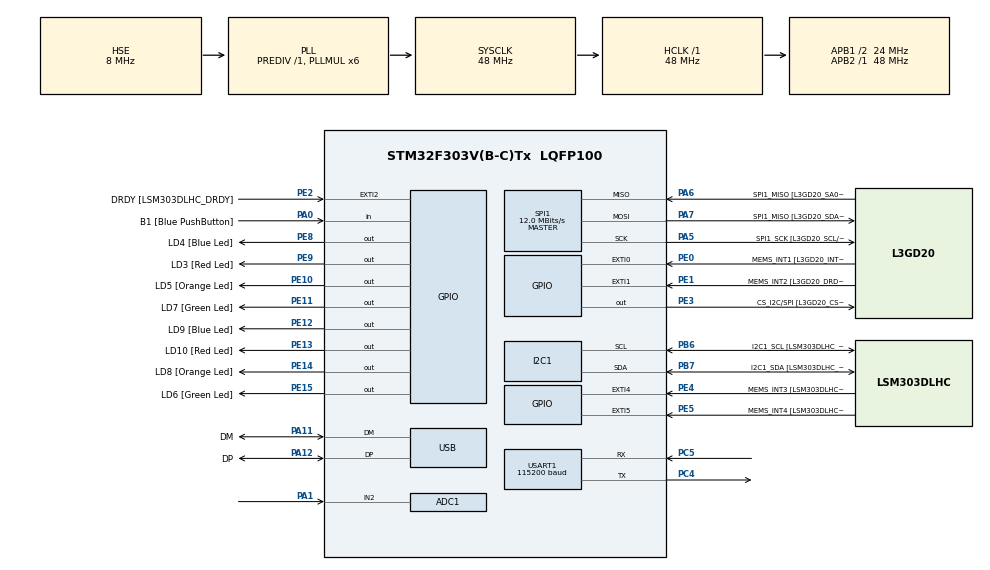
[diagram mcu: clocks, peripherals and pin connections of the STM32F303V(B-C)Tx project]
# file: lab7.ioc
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ADC1.Channel-1\#ChannelRegularConversion=ADC_CHANNEL_2
ADC1.ContinuousConvMode=ENABLE
ADC1.NbrOfConversionFlag=1
ADC1.Offset-1\#ChannelRegularConversion=0
ADC1.OffsetNumber-1\#ChannelRegularConversion=ADC_OFFSET_NONE
ADC1.Rank-1\#ChannelRegularConversion=1
ADC1.SamplingTime-1\#ChannelRegularConversion=ADC_SAMPLETIME_601CYCLES_5
ADC1.SamplingTimeOPAMP-1\#ChannelRegularConversion=ADC_SAMPLETIME_601CYCLES_5
ADC1.master=1
I2C1.Timing=0x00201D2B
I2C1.Timing-I2C=0x2000090E
Mcu.Family=STM32F3
Mcu.Name=STM32F303V(B-C)Tx
Mcu.Package=LQFP100
NVIC.ADC1_2_IRQn=true\:0\:0\:false\:false\:true\:true\:true\:true
NVIC.PriorityGroup=NVIC_PRIORITYGROUP_0
PA0.GPIO_Label=B1 [Blue PushButton]
PA0.Signal=GPIO_Input
PA1.Mode=IN2-Single-Ended
PA1.Signal=ADC1_IN2
PA11.GPIO_Label=DM
PA11.Mode=Device
PA11.Signal=USB_DM
PA12.GPIO_Label=DP
PA12.Mode=Device
PA12.Signal=USB_DP
PA13.GPIO_Label=SWDIO
PA13.Mode=Serial_Wire
PA13.Signal=SYS_JTMS-SWDIO
PA14.GPIO_Label=SWCLK
PA14.Mode=Serial_Wire
PA14.Signal=SYS_JTCK-SWCLK
PA5.GPIO_Label=SPI1_SCK [L3GD20_SCL/SPC]
PA5.Mode=Full_Duplex_Master
PA5.Signal=SPI1_SCK
PA6.GPIO_Label=SPI1_MISO [L3GD20_SA0/SDO]
PA6.Mode=Full_Duplex_Master
PA6.Signal=SPI1_MISO
PA7.GPIO_Label=SPI1_MISO [L3GD20_SDA/SDI/SDO]
PA7.Mode=Full_Duplex_Master
PA7.Signal=SPI1_MOSI
PB3.GPIO_Label=SWO
PB3.Signal=SYS_JTDO-TRACESWO
PB6.GPIO_Label=I2C1_SCL [LSM303DLHC_SCL]
PB6.GPIO_Pu=GPIO_PULLUP
PB6.Mode=I2C
PB6.Signal=I2C1_SCL
PB7.GPIO_Label=I2C1_SDA [LSM303DLHC_SDA]
PB7.GPIO_Pu=GPIO_PULLUP
PB7.Mode=I2C
PB7.Signal=I2C1_SDA
PC14-OSC32_IN.GPIO_Label=OSC32_IN
PC14-OSC32_IN.Signal=RCC_OSC32_IN
PC15-OSC32_OUT.GPIO_Label=OSC32_OUT
PC15-OSC32_OUT.Signal=RCC_OSC32_OUT
PC4.Mode=Asynchronous
PC4.Signal=USART1_TX
PC5.Mode=Asynchronous
PC5.Signal=USART1_RX
PE0.GPIO_Label=MEMS_INT1 [L3GD20_INT1]
PE0.GPIO_ModeDefaultEXTI=GPIO_MODE_EVT_RISING
PE0.Signal=GPXTI0
PE1.GPIO_Label=MEMS_INT2 [L3GD20_DRDY/INT2]
PE1.GPIO_ModeDefaultEXTI=GPIO_MODE_EVT_RISING
PE1.Signal=GPXTI1
PE10.GPIO_Label=LD5 [Orange Led]
PE10.Signal=GPIO_Output
PE11.GPIO_Label=LD7 [Green Led]
PE11.Signal=GPIO_Output
PE12.GPIO_Label=LD9 [Blue Led]
PE12.Signal=GPIO_Output
PE13.GPIO_Label=LD10 [Red Led]
PE13.Signal=GPIO_Output
PE14.GPIO_Label=LD8 [Orange Led]
PE14.Signal=GPIO_Output
PE15.GPIO_Label=LD6 [Green Led]
PE15.Signal=GPIO_Output
PE2.GPIO_Label=DRDY [LSM303DLHC_DRDY]
PE2.GPIO_ModeDefaultEXTI=GPIO_MODE_EVT_RISING
PE2.Signal=GPXTI2
PE3.GPIO_Label=CS_I2C/SPI [L3GD20_CS_I2C/SPI]
PE3.Signal=GPIO_Output
PE4.GPIO_Label=MEMS_INT3 [LSM303DLHC_INT1]
PE4.GPIO_ModeDefaultEXTI=GPIO_MODE_EVT_RISING
PE4.Signal=GPXTI4
PE5.GPIO_Label=MEMS_INT4 [LSM303DLHC_INT2]
PE5.GPIO_ModeDefaultEXTI=GPIO_MODE_EVT_RISING
PE5.Signal=GPXTI5
PE8.GPIO_Label=LD4 [Blue Led]
PE8.Signal=GPIO_Output
PE9.GPIO_Label=LD3 [Red Led]
PE9.Signal=GPIO_Output
PF0-OSC_IN.GPIO_Label=OSC_IN
PF0-OSC_IN.Mode=HSE-External-Clock-Source
PF0-OSC_IN.Signal=RCC_OSC_IN
PF1-OSC_OUT.GPIO_Label=OSC_OUT
PF1-OSC_OUT.Signal=RCC_OSC_OUT
ProjectManager.HeapSize=0x200
ProjectManager.StackSize=0x400
ProjectManager.TargetToolchain=CMake
RCC.AHBFreq_Value=48000000
RCC.APB1CLKDivider=RCC_HCLK_DIV2
RCC.APB1Freq_Value=24000000
RCC.APB1TimFreq_Value=48000000
RCC.APB2Freq_Value=48000000
RCC.APB2TimFreq_Value=48000000
RCC.CortexFreq_Value=48000000
RCC.HCLKFreq_Value=48000000
RCC.HSE_VALUE=8000000
RCC.HSI_VALUE=8000000
RCC.LSE_VALUE=32768
RCC.PLLMUL=RCC_PLL_MUL6
RCC.SYSCLKFreq_VALUE=48000000
RCC.SYSCLKSourceVirtual=RCC_SYSCLKSOURCE_PLLCLK
RCC.USBFreq_Value=48000000
SPI1.BaudRatePrescaler=SPI_BAUDRATEPRESCALER_4
SPI1.BaudRatePrescaler-Full_Duplex_Master=SPI_BAUDRATEPRESCALER_2
SPI1.CalculateBaudRate=12.0 MBits/s
SPI1.CalculateBaudRate-Full_Duplex_Master=24.0 MBits/s
SPI1.Direction=SPI_DIRECTION_2LINES
SPI1.Mode=SPI_MODE_MASTER
SPI1.Mode-Full_Duplex_Master=SPI_MODE_MASTER
SPI1.VirtualType=VM_MASTER
STMicroelectronics.X-CUBE-ALGOBUILD.1.5.0.LibraryCcDSPOoLibraryJjDSPOoLibrary=true
USART1.BaudRate=115200
USART1.VirtualMode-Asynchronous=VM_ASYNC
VP_STMicroelectronics.X-CUBE-ALGOBUILD_VS_DSPOoLibraryJjLibrary_1.5.0_1.5.0.Mode=DSPOoLibraryJjLibrary
board=STM32F3DISCOVERY

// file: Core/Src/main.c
/* USER CODE BEGIN Header */
/**
  ******************************************************************************
  * @file           : main.c
  * @brief          : Main program body
  ******************************************************************************
  * @attention
  *
  * Copyright (c) 2026 STMicroelectronics.
  * All rights reserved.
  *
  * This software is licensed under terms that can be found in the LICENSE file
  * in the root directory of this software component.
  * If no LICENSE file comes with this software, it is provided AS-IS.
  *
  ******************************************************************************
  */
/* USER CODE END Header */
#include "main.h"

/* USER CODE BEGIN Includes */
#include "stdio.h"
#include "stm32f3xx_hal.h"
#include "stm32f3xx_hal_adc.h"
#include "stm32f3xx_hal_def.h"
#include "stm32f3xx_hal_uart.h"
#include "string.h"
#include <stdint.h>
#include "arm_math.h"
/* USER CODE END Includes */

/* USER CODE BEGIN PTD */
#define FILTER_LEN 10
/* USER CODE END PTD */

ADC_HandleTypeDef hadc1;

I2C_HandleTypeDef hi2c1;

SPI_HandleTypeDef hspi1;

UART_HandleTypeDef huart1;

PCD_HandleTypeDef hpcd_USB_FS;

void SystemClock_Config(void);
static void MX_GPIO_Init(void);
static void MX_ADC1_Init(void);
static void MX_I2C1_Init(void);
static void MX_SPI1_Init(void);
static void MX_USART1_UART_Init(void);
static void MX_USB_PCD_Init(void);
/* USER CODE BEGIN PFP */
int _write(int file , char *ptr , int len) {
  HAL_UART_Transmit(&huart1, (uint8_t*) ptr, len, HAL_MAX_DELAY);
  return len;
}
/* USER CODE END PFP */

/* USER CODE BEGIN 0 */

// Task 1:
// volatile int value = 0;
// char msg[64];

// void HAL_ADC_ConvCpltCallback(ADC_HandleTypeDef* hadc) {
//   if (hadc->Instance == ADC1) {
//     value = HAL_ADC_GetValue(hadc);
//     int len = sprintf(msg , "%d\r\n" , value);
//     HAL_UART_Transmit(&huart1 , (uint8_t*) msg , len , HAL_MAX_DELAY);
//   }
// }

// Task 2
// float32_t inputBuffer[FILTER_LEN];
// float32_t output;
// uint32_t idx = 0;

// void apply_moving_average(float32_t new_sample) {
//   inputBuffer[idx] = new_sample;
//   idx = (idx+ 1) % FILTER_LEN;
//   arm_mean_f32(inputBuffer, FILTER_LEN, &output);
// }

// Task 2b:
// void HAL_ADC_ConvCpltCallback(ADC_HandleTypeDef *hadc) {
//   if (hadc->Instance == ADC1) {
//       uint32_t value = HAL_ADC_GetValue(&hadc1);
//       apply_moving_average(((float32_t)value / 4095.0f) *3.3f);
//       uint32_t filtered_int = (uint32_t)((output / 3.3f) * 4095.0f);
//       printf("%lu,%lu\r\n", value, filtered_int);
//   }
// }

// Task 3:
volatile int value = 0;
char msg[256];

void HAL_ADC_ConvCpltCallback(ADC_HandleTypeDef* hadc) {
  if (hadc->Instance == ADC1) {
    value = HAL_ADC_GetValue(hadc);
    float voltage = ((float)value * 3.3f) / 4095.0f;
    float distance = 0.0f;
    if (voltage > 0.2f) {
      float slope = 21.25f;
      float intercept = 0.175f;
      float inverse_distance = (voltage - intercept) / slope;
      if (inverse_distance > 0.0f) {
        distance = 1.0f / inverse_distance;
      } else {
        distance = 80.0f;
      }
    } else {
      distance = 80.0f;
    }
    if (distance < 10.0f) distance = 10.0f;
    if (distance > 80.0f) distance = 80.0f;
    int len = sprintf(msg , "ADC: %d , Distance: %d\r\n" , value , (int) distance);
    HAL_UART_Transmit(&huart1 , (uint8_t*) msg , len , HAL_MAX_DELAY);
  }
}

/* USER CODE END 0 */

int main(void)
{

  /* MCU Configuration--------------------------------------------------------*/

  /* Reset of all peripherals, Initializes the Flash interface and the Systick. */
  HAL_Init();

  /* Configure the system clock */
  SystemClock_Config();

  /* Initialize all configured peripherals */
  MX_GPIO_Init();
  MX_ADC1_Init();
  MX_I2C1_Init();
  MX_SPI1_Init();
  MX_USART1_UART_Init();
  MX_USB_PCD_Init();
  /* USER CODE BEGIN 2 */

  // Task 1:
  // HAL_ADC_Start_IT(&hadc1);

  // Task 2b:
  // HAL_ADC_Start_IT(&hadc1);
  // /* USER CODE END 2 */

  // Task 3:
  HAL_ADC_Start_IT(&hadc1);

  /* Infinite loop */
  /* USER CODE BEGIN WHILE */
  while (1)
  {
    // TASK 2a:
    // HAL_ADC_Start(&hadc1);
    // if (HAL_ADC_PollForConversion(&hadc1, 10) == HAL_OK) {
    //   uint32_t value = HAL_ADC_GetValue(&hadc1);
    //   apply_moving_average(((float32_t)value / 4095.0f) *3.3f);
    //   uint32_t filtered_int = (uint32_t)((output / 3.3f) * 4095.0f);
    //   printf("%lu,%lu\r\n", value, filtered_int);
    // }
    // HAL_ADC_Stop(&hadc1);

    /* USER CODE END WHILE */

  }
}

void SystemClock_Config(void)
{
  RCC_OscInitTypeDef RCC_OscInitStruct = {0};
  RCC_ClkInitTypeDef RCC_ClkInitStruct = {0};
  RCC_PeriphCLKInitTypeDef PeriphClkInit = {0};

  /** Initializes the RCC Oscillators according to the specified parameters
  * in the RCC_OscInitTypeDef structure.
  */
  RCC_OscInitStruct.OscillatorType = RCC_OSCILLATORTYPE_HSI|RCC_OSCILLATORTYPE_HSE;
  RCC_OscInitStruct.HSEState = RCC_HSE_BYPASS;
  RCC_OscInitStruct.HSEPredivValue = RCC_HSE_PREDIV_DIV1;
  RCC_OscInitStruct.HSIState = RCC_HSI_ON;
  RCC_OscInitStruct.HSICalibrationValue = RCC_HSICALIBRATION_DEFAULT;
  RCC_OscInitStruct.PLL.PLLState = RCC_PLL_ON;
  RCC_OscInitStruct.PLL.PLLSource = RCC_PLLSOURCE_HSE;
  RCC_OscInitStruct.PLL.PLLMUL = RCC_PLL_MUL6;
  if (HAL_RCC_OscConfig(&RCC_OscInitStruct) != HAL_OK)
  {
    Error_Handler();
  }

  /** Initializes the CPU, AHB and APB buses clocks
  */
  RCC_ClkInitStruct.ClockType = RCC_CLOCKTYPE_HCLK|RCC_CLOCKTYPE_SYSCLK
                              |RCC_CLOCKTYPE_PCLK1|RCC_CLOCKTYPE_PCLK2;
  RCC_ClkInitStruct.SYSCLKSource = RCC_SYSCLKSOURCE_PLLCLK;
  RCC_ClkInitStruct.AHBCLKDivider = RCC_SYSCLK_DIV1;
  RCC_ClkInitStruct.APB1CLKDivider = RCC_HCLK_DIV2;
  RCC_ClkInitStruct.APB2CLKDivider = RCC_HCLK_DIV1;

  if (HAL_RCC_ClockConfig(&RCC_ClkInitStruct, FLASH_LATENCY_1) != HAL_OK)
  {
    Error_Handler();
  }
  PeriphClkInit.PeriphClockSelection = RCC_PERIPHCLK_USB|RCC_PERIPHCLK_USART1
                              |RCC_PERIPHCLK_I2C1|RCC_PERIPHCLK_ADC12;
  PeriphClkInit.Usart1ClockSelection = RCC_USART1CLKSOURCE_PCLK2;
  PeriphClkInit.Adc12ClockSelection = RCC_ADC12PLLCLK_DIV1;
  PeriphClkInit.I2c1ClockSelection = RCC_I2C1CLKSOURCE_HSI;
  PeriphClkInit.USBClockSelection = RCC_USBCLKSOURCE_PLL;
  if (HAL_RCCEx_PeriphCLKConfig(&PeriphClkInit) != HAL_OK)
  {
    Error_Handler();
  }
}

static void MX_ADC1_Init(void)
{

  ADC_MultiModeTypeDef multimode = {0};
  ADC_ChannelConfTypeDef sConfig = {0};

  /** Common config
  */
  hadc1.Instance = ADC1;
  hadc1.Init.ClockPrescaler = ADC_CLOCK_ASYNC_DIV1;
  hadc1.Init.Resolution = ADC_RESOLUTION_12B;
  hadc1.Init.ScanConvMode = ADC_SCAN_DISABLE;
  hadc1.Init.ContinuousConvMode = ENABLE;
  hadc1.Init.DiscontinuousConvMode = DISABLE;
  hadc1.Init.ExternalTrigConvEdge = ADC_EXTERNALTRIGCONVEDGE_NONE;
  hadc1.Init.ExternalTrigConv = ADC_SOFTWARE_START;
  hadc1.Init.DataAlign = ADC_DATAALIGN_RIGHT;
  hadc1.Init.NbrOfConversion = 1;
  hadc1.Init.DMAContinuousRequests = DISABLE;
  hadc1.Init.EOCSelection = ADC_EOC_SINGLE_CONV;
  hadc1.Init.LowPowerAutoWait = DISABLE;
  hadc1.Init.Overrun = ADC_OVR_DATA_OVERWRITTEN;
  if (HAL_ADC_Init(&hadc1) != HAL_OK)
  {
    Error_Handler();
  }

  /** Configure the ADC multi-mode
  */
  multimode.Mode = ADC_MODE_INDEPENDENT;
  if (HAL_ADCEx_MultiModeConfigChannel(&hadc1, &multimode) != HAL_OK)
  {
    Error_Handler();
  }

  /** Configure Regular Channel
  */
  sConfig.Channel = ADC_CHANNEL_2;
  sConfig.Rank = ADC_REGULAR_RANK_1;
  sConfig.SingleDiff = ADC_SINGLE_ENDED;
  sConfig.SamplingTime = ADC_SAMPLETIME_601CYCLES_5;
  sConfig.OffsetNumber = ADC_OFFSET_NONE;
  sConfig.Offset = 0;
  if (HAL_ADC_ConfigChannel(&hadc1, &sConfig) != HAL_OK)
  {
    Error_Handler();
  }

}

static void MX_I2C1_Init(void)
{

  hi2c1.Instance = I2C1;
  hi2c1.Init.Timing = 0x00201D2B;
  hi2c1.Init.OwnAddress1 = 0;
  hi2c1.Init.AddressingMode = I2C_ADDRESSINGMODE_7BIT;
  hi2c1.Init.DualAddressMode = I2C_DUALADDRESS_DISABLE;
  hi2c1.Init.OwnAddress2 = 0;
  hi2c1.Init.OwnAddress2Masks = I2C_OA2_NOMASK;
  hi2c1.Init.GeneralCallMode = I2C_GENERALCALL_DISABLE;
  hi2c1.Init.NoStretchMode = I2C_NOSTRETCH_DISABLE;
  if (HAL_I2C_Init(&hi2c1) != HAL_OK)
  {
    Error_Handler();
  }

  /** Configure Analogue filter
  */
  if (HAL_I2CEx_ConfigAnalogFilter(&hi2c1, I2C_ANALOGFILTER_ENABLE) != HAL_OK)
  {
    Error_Handler();
  }

  /** Configure Digital filter
  */
  if (HAL_I2CEx_ConfigDigitalFilter(&hi2c1, 0) != HAL_OK)
  {
    Error_Handler();
  }

}

static void MX_SPI1_Init(void)
{

  /* SPI1 parameter configuration*/
  hspi1.Instance = SPI1;
  hspi1.Init.Mode = SPI_MODE_MASTER;
  hspi1.Init.Direction = SPI_DIRECTION_2LINES;
  hspi1.Init.DataSize = SPI_DATASIZE_4BIT;
  hspi1.Init.CLKPolarity = SPI_POLARITY_LOW;
  hspi1.Init.CLKPhase = SPI_PHASE_1EDGE;
  hspi1.Init.NSS = SPI_NSS_SOFT;
  hspi1.Init.BaudRatePrescaler = SPI_BAUDRATEPRESCALER_4;
  hspi1.Init.FirstBit = SPI_FIRSTBIT_MSB;
  hspi1.Init.TIMode = SPI_TIMODE_DISABLE;
  hspi1.Init.CRCCalculation = SPI_CRCCALCULATION_DISABLE;
  hspi1.Init.CRCPolynomial = 7;
  hspi1.Init.CRCLength = SPI_CRC_LENGTH_DATASIZE;
  hspi1.Init.NSSPMode = SPI_NSS_PULSE_ENABLE;
  if (HAL_SPI_Init(&hspi1) != HAL_OK)
  {
    Error_Handler();
  }

}

static void MX_USART1_UART_Init(void)
{

  huart1.Instance = USART1;
  huart1.Init.BaudRate = 115200;
  huart1.Init.WordLength = UART_WORDLENGTH_8B;
  huart1.Init.StopBits = UART_STOPBITS_1;
  huart1.Init.Parity = UART_PARITY_NONE;
  huart1.Init.Mode = UART_MODE_TX_RX;
  huart1.Init.HwFlowCtl = UART_HWCONTROL_NONE;
  huart1.Init.OverSampling = UART_OVERSAMPLING_16;
  huart1.Init.OneBitSampling = UART_ONE_BIT_SAMPLE_DISABLE;
  huart1.AdvancedInit.AdvFeatureInit = UART_ADVFEATURE_NO_INIT;
  if (HAL_UART_Init(&huart1) != HAL_OK)
  {
    Error_Handler();
  }

}

static void MX_USB_PCD_Init(void)
{

  hpcd_USB_FS.Instance = USB;
  hpcd_USB_FS.Init.dev_endpoints = 8;
  hpcd_USB_FS.Init.speed = PCD_SPEED_FULL;
  hpcd_USB_FS.Init.phy_itface = PCD_PHY_EMBEDDED;
  hpcd_USB_FS.Init.low_power_enable = DISABLE;
  hpcd_USB_FS.Init.battery_charging_enable = DISABLE;
  if (HAL_PCD_Init(&hpcd_USB_FS) != HAL_OK)
  {
    Error_Handler();
  }

}

static void MX_GPIO_Init(void)
{
  GPIO_InitTypeDef GPIO_InitStruct = {0};

  /* GPIO Ports Clock Enable */
  __HAL_RCC_GPIOE_CLK_ENABLE();
  __HAL_RCC_GPIOC_CLK_ENABLE();
  __HAL_RCC_GPIOF_CLK_ENABLE();
  __HAL_RCC_GPIOA_CLK_ENABLE();
  __HAL_RCC_GPIOB_CLK_ENABLE();

  /*Configure GPIO pin Output Level */
  HAL_GPIO_WritePin(GPIOE, CS_I2C_SPI_Pin|LD4_Pin|LD3_Pin|LD5_Pin
                          |LD7_Pin|LD9_Pin|LD10_Pin|LD8_Pin
                          |LD6_Pin, GPIO_PIN_RESET);

  /*Configure GPIO pins : DRDY_Pin MEMS_INT3_Pin MEMS_INT4_Pin MEMS_INT1_Pin
                           MEMS_INT2_Pin */
  GPIO_InitStruct.Pin = DRDY_Pin|MEMS_INT3_Pin|MEMS_INT4_Pin|MEMS_INT1_Pin
                          |MEMS_INT2_Pin;
  GPIO_InitStruct.Mode = GPIO_MODE_EVT_RISING;
  GPIO_InitStruct.Pull = GPIO_NOPULL;
  HAL_GPIO_Init(GPIOE, &GPIO_InitStruct);

  /*Configure GPIO pins : CS_I2C_SPI_Pin LD4_Pin LD3_Pin LD5_Pin
                           LD7_Pin LD9_Pin LD10_Pin LD8_Pin
                           LD6_Pin */
  GPIO_InitStruct.Pin = CS_I2C_SPI_Pin|LD4_Pin|LD3_Pin|LD5_Pin
                          |LD7_Pin|LD9_Pin|LD10_Pin|LD8_Pin
                          |LD6_Pin;
  GPIO_InitStruct.Mode = GPIO_MODE_OUTPUT_PP;
  GPIO_InitStruct.Pull = GPIO_NOPULL;
  GPIO_InitStruct.Speed = GPIO_SPEED_FREQ_LOW;
  HAL_GPIO_Init(GPIOE, &GPIO_InitStruct);

  /*Configure GPIO pin : B1_Pin */
  GPIO_InitStruct.Pin = B1_Pin;
  GPIO_InitStruct.Mode = GPIO_MODE_INPUT;
  GPIO_InitStruct.Pull = GPIO_NOPULL;
  HAL_GPIO_Init(B1_GPIO_Port, &GPIO_InitStruct);

}

void Error_Handler(void)
{
  __disable_irq();
  while (1)
  {
  }
}
